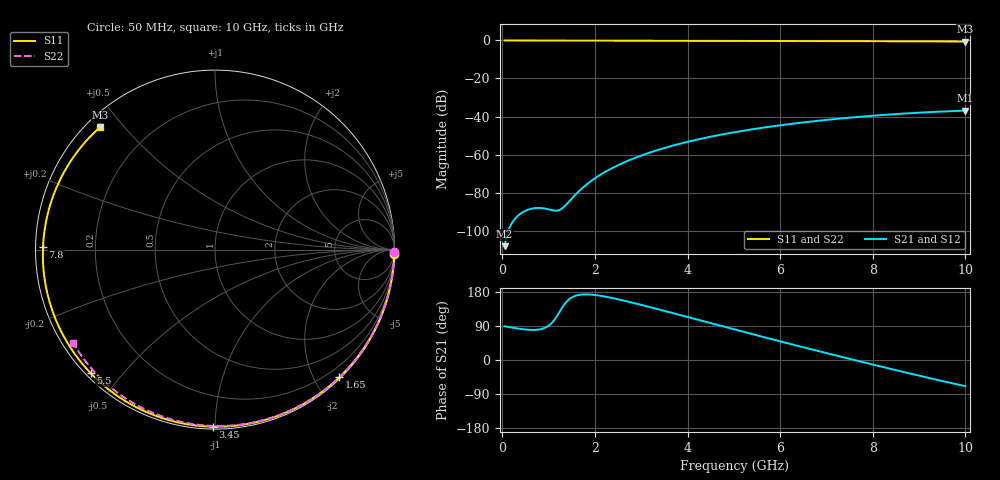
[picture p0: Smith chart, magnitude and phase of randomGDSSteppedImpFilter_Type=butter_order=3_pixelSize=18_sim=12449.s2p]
! freq	dB(S11)	phase(S11)	dB(S12)	phase(S12)
!  dB(S21)	phase(S21)	dB(S22)	phase(S22)
!S-par simulation data
#  GHz  S  DB  R 50
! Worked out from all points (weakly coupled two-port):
!   200 points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, 50 MHz to 10 GHz, reference 50 ohm
!   highest |S21| = -36.91 dB at 10 GHz (marker M1); lowest = -108.2 dB at 50 MHz (marker M2)
!   lowest |S11| = -0.6 dB at 10 GHz (marker M3), VSWR 30.13, Z = 1.97 + j21.6 ohm
!   |S11| at or under -10 dB: nowhere
!   |S22| runs from -0.5 to 0.0 dB; largest |S21 - S12| = 0
!   S11 on the Smith chart (normalised r, x): 50 MHz: 0, -80; 1.65 GHz: 0.02, -2.37; 3.45 GHz: 0.01, -0.99; 5.5 GHz: 0.01, -0.41; 7.8 GHz: 0.02, +0.01; 10 GHz: 0.04, +0.43
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0.05  -0.00 -1.4  -108.18 89.1  -108.18 89.1  -0.00 -0.9
0.4  -0.02 -11.3  -90.99 81.9  -90.99 81.9  -0.01 -6.8
0.8  -0.03 -22.5  -88.07 80.6  -88.07 80.6  -0.02 -13.6
1.2  -0.04 -33.6  -89.44 119.5  -89.44 119.5  -0.03 -20.3
1.6  -0.06 -44.4  -80.61 170.2  -80.61 170.2  -0.03 -26.9
1.65  -0.06 -45.7  -79.41 171.7  -79.41 171.7  -0.04 -27.7
1.75  -0.06 -48.4  -77.19 173.1  -77.19 173.1  -0.04 -29.4
2.05  -0.07 -56.3  -71.69 170.8  -71.69 170.8  -0.04 -34.3
2.45  -0.08 -66.5  -66.17 161.6  -66.17 161.6  -0.05 -40.8
2.9  -0.10 -77.6  -61.43 148.6  -61.43 148.6  -0.06 -48.0
3.4  -0.11 -89.6  -57.28 132.9  -57.28 132.9  -0.07 -55.8
3.45  -0.12 -90.7  -56.92 131.3  -56.92 131.3  -0.08 -56.6
4.2  -0.14 -107.7  -52.18 107.1  -52.18 107.1  -0.10 -68.0
5.05  -0.18 -125.9  -48.11 79.5  -48.11 79.5  -0.12 -80.5
5.5  -0.21 -135.2  -46.34 65.1  -46.34 65.1  -0.14 -86.9
6.1  -0.24 -147.3  -44.30 46.1  -44.30 46.1  -0.17 -95.3
6.7  -0.28 -159.3  -42.55 27.5  -42.55 27.5  -0.20 -103.5
7.25  -0.33 -170.1  -41.17 10.6  -41.17 10.6  -0.23 -110.9
7.8  -0.37 179.0  -39.98 -6.0  -39.98 -6.0  -0.27 -118.1
8.35  -0.42 168.0  -38.96 -22.4  -38.96 -22.4  -0.32 -125.3
9.15  -0.50 151.5  -37.78 -45.6  -37.78 -45.6  -0.39 -135.6
10  -0.58 133.2  -36.91 -69.0  -36.91 -69.0  -0.48 -146.6
